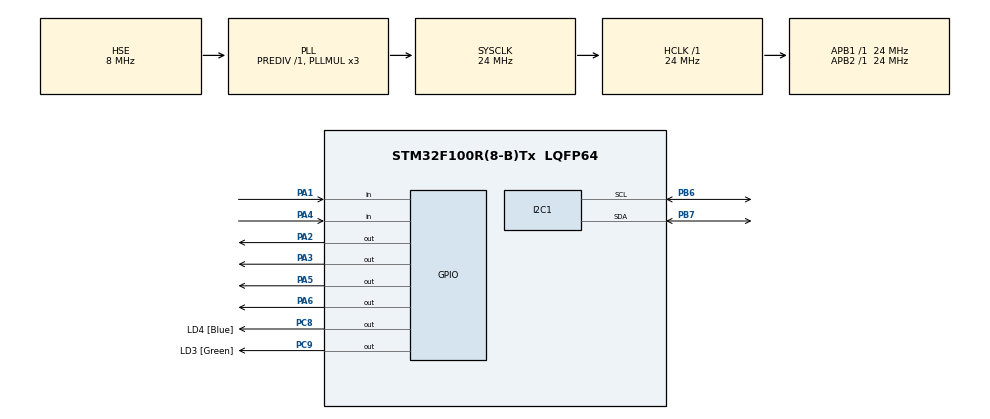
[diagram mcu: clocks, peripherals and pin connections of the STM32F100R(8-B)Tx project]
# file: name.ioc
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Mcu.Family=STM32F1
Mcu.Name=STM32F100R(8-B)Tx
Mcu.Package=LQFP64
NVIC.PriorityGroup=NVIC_PRIORITYGROUP_4
PA0-WKUP.Mode=SYS_WakeUp0
PA0-WKUP.Signal=SYS_WKUP
PA1.GPIO_PuPd=GPIO_PULLUP
PA1.Signal=GPIO_Input
PA13.GPIO_Label=TMS_SWDIO
PA13.Mode=Serial_Wire
PA13.Signal=SYS_JTMS-SWDIO
PA14.GPIO_Label=TCK_SWCLK
PA14.Mode=Serial_Wire
PA14.Signal=SYS_JTCK-SWCLK
PA2.GPIO_PuPd=GPIO_PULLUP
PA2.Signal=GPIO_Output
PA3.GPIO_PuPd=GPIO_PULLUP
PA3.Signal=GPIO_Output
PA4.GPIO_PuPd=GPIO_PULLUP
PA4.Signal=GPIO_Input
PA5.GPIO_PuPd=GPIO_PULLUP
PA5.Signal=GPIO_Output
PA6.GPIO_PuPd=GPIO_PULLUP
PA6.Signal=GPIO_Output
PB6.GPIO_Speed=GPIO_SPEED_FREQ_HIGH
PB6.Mode=I2C
PB6.Signal=I2C1_SCL
PB7.Mode=I2C
PB7.Signal=I2C1_SDA
PC14-OSC32_IN.Signal=RCC_OSC32_IN
PC15-OSC32_OUT.Signal=RCC_OSC32_OUT
PC8.GPIO_Label=LD4 [Blue]
PC8.GPIO_PuPd=GPIO_PULLUP
PC8.Signal=GPIO_Output
PC9.GPIO_Label=LD3 [Green]
PC9.GPIO_PuPd=GPIO_PULLUP
PC9.Signal=GPIO_Output
PD0-OSC_IN.Mode=HSE-External-Oscillator
PD0-OSC_IN.Signal=RCC_OSC_IN
PD1-OSC_OUT.Mode=HSE-External-Oscillator
PD1-OSC_OUT.Signal=RCC_OSC_OUT
ProjectManager.HeapSize=0x200
ProjectManager.StackSize=0x400
ProjectManager.TargetToolchain=MDK-ARM V5.32
RCC.AHBFreq_Value=24000000
RCC.APB1Freq_Value=24000000
RCC.APB1TimFreq_Value=24000000
RCC.APB2Freq_Value=24000000
RCC.APB2TimFreq_Value=24000000
RCC.HCLKFreq_Value=24000000
RCC.PLLMUL=RCC_PLL_MUL3
RCC.PLLSource=RCC_PLLSOURCE_HSE
RCC.SYSCLKFreq_VALUE=24000000
RCC.SYSCLKSource=RCC_SYSCLKSOURCE_PLLCLK
board=STM32VLDISCOVERY

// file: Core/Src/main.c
/* USER CODE BEGIN Header */
/**
  ******************************************************************************
  * @file           : main.c
  * @brief          : Main program body
  ******************************************************************************
  * @attention
  *
  * Copyright (c) 2024 STMicroelectronics.
  * All rights reserved.
  *
  * This software is licensed under terms that can be found in the LICENSE file
  * in the root directory of this software component.
  * If no LICENSE file comes with this software, it is provided AS-IS.
  *
  ******************************************************************************
  */
/* USER CODE END Header */
#include "main.h"

/* USER CODE BEGIN Includes */
#include "liquidcrystal_i2c.h"
#include "stdio.h"
/* USER CODE END Includes */

I2C_HandleTypeDef hi2c1;

void SystemClock_Config(void);
static void MX_GPIO_Init(void);
static void MX_I2C1_Init(void);

int main(void)
{

  /* USER CODE BEGIN 1 */
	uint8_t whichstate = 0;
	uint8_t bluecount = 0;
	uint8_t redcount = 0;
	uint8_t button = 0;
	char buffer[20];
  /* USER CODE END 1 */

  /* MCU Configuration--------------------------------------------------------*/

  /* Reset of all peripherals, Initializes the Flash interface and the Systick. */
  HAL_Init();

  /* Configure the system clock */
  SystemClock_Config();

  /* Initialize all configured peripherals */
  MX_GPIO_Init();
  MX_I2C1_Init();
  /* USER CODE BEGIN 2 */
			HD44780_Init(2);

  /* USER CODE END 2 */

  /* Infinite loop */
  while (1)
  {

    /* USER CODE BEGIN 3 */

		if(HAL_GPIO_ReadPin(GPIOA,GPIO_PIN_4)==1 && button == 1)
		{
			if(whichstate == 0)
			{
				HAL_GPIO_WritePin(GPIOA,GPIO_PIN_5,1);
				HAL_GPIO_WritePin(GPIOA,GPIO_PIN_6,0);
				if(redcount<9)
				redcount++;
				whichstate = 1;
			}
			else
			{
				HAL_GPIO_WritePin(GPIOA,GPIO_PIN_5,0);
				HAL_GPIO_WritePin(GPIOA,GPIO_PIN_6,1);
				if(bluecount<9)
				bluecount++;
				whichstate = 0;
			}

			button = 0;
		}
			sprintf(buffer,"BLUE = %d",bluecount);
			HD44780_SetCursor(0,0);
			HD44780_PrintStr(buffer);
			sprintf(buffer,"RED = %d",redcount);
			HD44780_SetCursor(0,1);
			HD44780_PrintStr(buffer);

		if(HAL_GPIO_ReadPin(GPIOA,GPIO_PIN_4)==0)
		{
			button = 1;
		}
		if(redcount==9 && bluecount == 9)
		{
				HD44780_Clear();
				HD44780_SetCursor(0,0);
				HD44780_PrintStr("LIMIT");
				HAL_GPIO_WritePin(GPIOA,GPIO_PIN_5,1);
				HAL_GPIO_WritePin(GPIOA,GPIO_PIN_6,1);
				HD44780_Backlight();
				HAL_Delay(100);
			  HAL_GPIO_WritePin(GPIOA,GPIO_PIN_5,0);
				HAL_GPIO_WritePin(GPIOA,GPIO_PIN_6,0);
				HD44780_NoBacklight();

		}

		HAL_Delay(50);
  }

  /* USER CODE END 3 */
}

void SystemClock_Config(void)
{
  RCC_OscInitTypeDef RCC_OscInitStruct = {0};
  RCC_ClkInitTypeDef RCC_ClkInitStruct = {0};

  /** Initializes the RCC Oscillators according to the specified parameters
  * in the RCC_OscInitTypeDef structure.
  */
  RCC_OscInitStruct.OscillatorType = RCC_OSCILLATORTYPE_HSE;
  RCC_OscInitStruct.HSEState = RCC_HSE_ON;
  RCC_OscInitStruct.HSEPredivValue = RCC_HSE_PREDIV_DIV1;
  RCC_OscInitStruct.PLL.PLLState = RCC_PLL_ON;
  RCC_OscInitStruct.PLL.PLLSource = RCC_PLLSOURCE_HSE;
  RCC_OscInitStruct.PLL.PLLMUL = RCC_PLL_MUL3;
  if (HAL_RCC_OscConfig(&RCC_OscInitStruct) != HAL_OK)
  {
    Error_Handler();
  }

  /** Initializes the CPU, AHB and APB buses clocks
  */
  RCC_ClkInitStruct.ClockType = RCC_CLOCKTYPE_HCLK|RCC_CLOCKTYPE_SYSCLK
                              |RCC_CLOCKTYPE_PCLK1|RCC_CLOCKTYPE_PCLK2;
  RCC_ClkInitStruct.SYSCLKSource = RCC_SYSCLKSOURCE_PLLCLK;
  RCC_ClkInitStruct.AHBCLKDivider = RCC_SYSCLK_DIV1;
  RCC_ClkInitStruct.APB1CLKDivider = RCC_HCLK_DIV1;
  RCC_ClkInitStruct.APB2CLKDivider = RCC_HCLK_DIV1;

  if (HAL_RCC_ClockConfig(&RCC_ClkInitStruct, FLASH_LATENCY_0) != HAL_OK)
  {
    Error_Handler();
  }
}

static void MX_I2C1_Init(void)
{

  hi2c1.Instance = I2C1;
  hi2c1.Init.ClockSpeed = 100000;
  hi2c1.Init.DutyCycle = I2C_DUTYCYCLE_2;
  hi2c1.Init.OwnAddress1 = 0;
  hi2c1.Init.AddressingMode = I2C_ADDRESSINGMODE_7BIT;
  hi2c1.Init.DualAddressMode = I2C_DUALADDRESS_DISABLE;
  hi2c1.Init.OwnAddress2 = 0;
  hi2c1.Init.GeneralCallMode = I2C_GENERALCALL_DISABLE;
  hi2c1.Init.NoStretchMode = I2C_NOSTRETCH_DISABLE;
  if (HAL_I2C_Init(&hi2c1) != HAL_OK)
  {
    Error_Handler();
  }

}

static void MX_GPIO_Init(void)
{
  GPIO_InitTypeDef GPIO_InitStruct = {0};

  /* GPIO Ports Clock Enable */
  __HAL_RCC_GPIOC_CLK_ENABLE();
  __HAL_RCC_GPIOD_CLK_ENABLE();
  __HAL_RCC_GPIOA_CLK_ENABLE();
  __HAL_RCC_GPIOB_CLK_ENABLE();

  /*Configure GPIO pin Output Level */
  HAL_GPIO_WritePin(GPIOA, GPIO_PIN_2|GPIO_PIN_3|GPIO_PIN_5|GPIO_PIN_6, GPIO_PIN_RESET);

  /*Configure GPIO pin Output Level */
  HAL_GPIO_WritePin(GPIOC, LD4_Pin|LD3_Pin, GPIO_PIN_RESET);

  /*Configure GPIO pins : PA1 PA4 */
  GPIO_InitStruct.Pin = GPIO_PIN_1|GPIO_PIN_4;
  GPIO_InitStruct.Mode = GPIO_MODE_INPUT;
  GPIO_InitStruct.Pull = GPIO_PULLUP;
  HAL_GPIO_Init(GPIOA, &GPIO_InitStruct);

  /*Configure GPIO pins : PA2 PA3 PA5 PA6 */
  GPIO_InitStruct.Pin = GPIO_PIN_2|GPIO_PIN_3|GPIO_PIN_5|GPIO_PIN_6;
  GPIO_InitStruct.Mode = GPIO_MODE_OUTPUT_PP;
  GPIO_InitStruct.Pull = GPIO_PULLUP;
  GPIO_InitStruct.Speed = GPIO_SPEED_FREQ_LOW;
  HAL_GPIO_Init(GPIOA, &GPIO_InitStruct);

  /*Configure GPIO pins : LD4_Pin LD3_Pin */
  GPIO_InitStruct.Pin = LD4_Pin|LD3_Pin;
  GPIO_InitStruct.Mode = GPIO_MODE_OUTPUT_PP;
  GPIO_InitStruct.Pull = GPIO_PULLUP;
  GPIO_InitStruct.Speed = GPIO_SPEED_FREQ_LOW;
  HAL_GPIO_Init(GPIOC, &GPIO_InitStruct);

}

void Error_Handler(void)
{
  __disable_irq();
  while (1)
  {
  }
}
